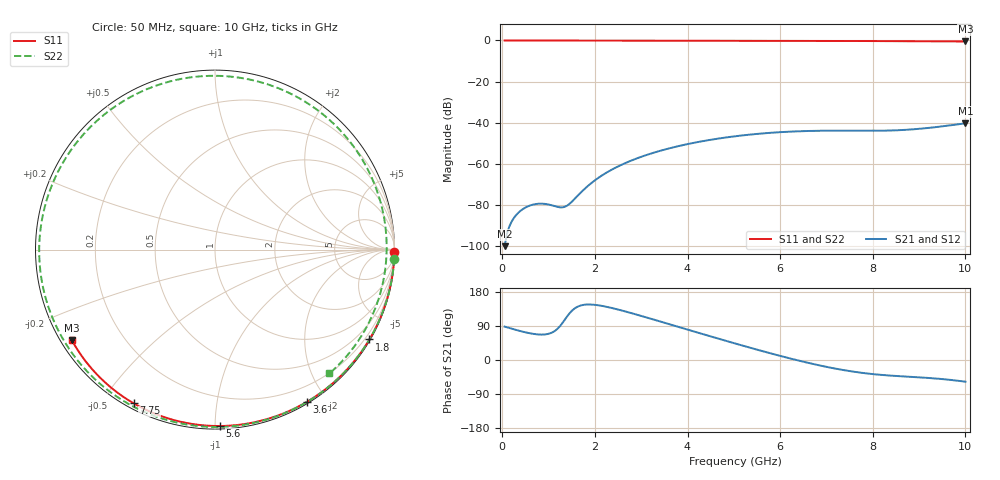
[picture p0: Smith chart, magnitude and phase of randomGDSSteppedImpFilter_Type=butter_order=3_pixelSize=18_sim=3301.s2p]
! freq	dB(S11)	phase(S11)	dB(S12)	phase(S12)
!  dB(S21)	phase(S21)	dB(S22)	phase(S22)
!S-par simulation data
#  GHz  S  DB  R 50
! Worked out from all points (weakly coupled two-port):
!   200 points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, 50 MHz to 10 GHz, reference 50 ohm
!   highest |S21| = -40.26 dB at 10 GHz (marker M1); lowest = -99.9 dB at 50 MHz (marker M2)
!   lowest |S11| = -0.5 dB at 10 GHz (marker M3), VSWR 34.71, Z = 1.56 - j14.5 ohm
!   |S11| at or under -10 dB: nowhere
!   |S22| runs from -0.5 to 0.0 dB; largest |S21 - S12| = 0
!   S11 on the Smith chart (normalised r, x): 50 MHz: open; 1.8 GHz: 0.03, -3.71; 3.6 GHz: 0.02, -1.77; 5.6 GHz: 0.02, -1.03; 7.75 GHz: 0.02, -0.60; 10 GHz: 0.03, -0.29
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0.05  -0.00 -0.8  -99.92 88.2  -99.92 88.2  -0.00 -2.8
0.4  -0.01 -6.8  -82.63 76.0  -82.63 76.0  -0.03 -22.6
0.8  -0.02 -13.5  -79.29 67.2  -79.29 67.2  -0.06 -44.5
1.1  -0.02 -18.6  -80.25 74.0  -80.25 74.0  -0.07 -60.4
1.4  -0.03 -23.6  -80.23 115.0  -80.23 115.0  -0.09 -75.6
1.75  -0.04 -29.4  -72.67 145.4  -72.67 145.4  -0.10 -92.5
1.8  -0.04 -30.2  -71.63 146.2  -71.63 146.2  -0.11 -94.8
2.1  -0.05 -35.1  -66.34 143.9  -66.34 143.9  -0.12 -108.5
2.45  -0.05 -40.7  -61.74 134.7  -61.74 134.7  -0.13 -123.7
2.95  -0.06 -48.7  -56.92 118.1  -56.92 118.1  -0.15 -144.2
3.4  -0.07 -55.8  -53.66 102.0  -53.66 102.0  -0.16 -161.7
3.6  -0.08 -58.9  -52.44 94.8  -52.44 94.8  -0.17 -169.3
4.3  -0.10 -69.5  -49.02 69.4  -49.02 69.4  -0.20 164.7
5.05  -0.12 -80.6  -46.48 42.8  -46.48 42.8  -0.23 137.0
5.6  -0.15 -88.5  -45.20 24.0  -45.20 24.0  -0.25 116.5
6.15  -0.17 -96.2  -44.36 6.1  -44.36 6.1  -0.27 95.6
6.7  -0.20 -103.8  -43.93 -10.2  -43.93 -10.2  -0.30 74.4
7.2  -0.23 -110.6  -43.82 -22.9  -43.82 -22.9  -0.31 54.9
7.75  -0.27 -117.9  -43.87 -33.6  -43.87 -33.6  -0.34 33.5
8.35  -0.32 -125.9  -43.77 -40.9  -43.77 -40.9  -0.37 10.6
9.1  -0.40 -135.7  -42.72 -46.5  -42.72 -46.5  -0.43 -16.7
10  -0.50 -147.6  -40.26 -57.2  -40.26 -57.2  -0.54 -47.2
